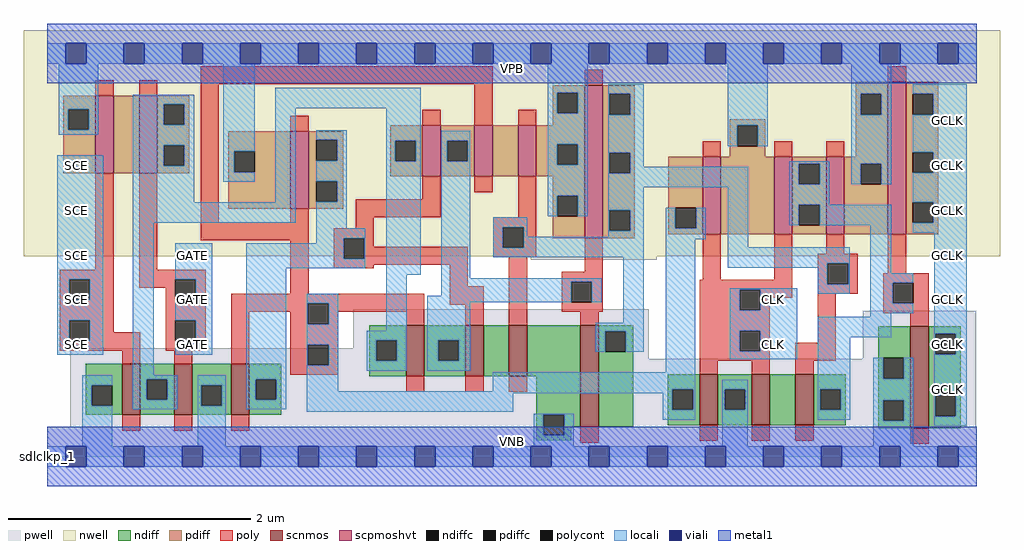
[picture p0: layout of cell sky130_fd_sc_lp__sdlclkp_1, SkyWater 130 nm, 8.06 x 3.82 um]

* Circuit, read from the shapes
.subckt sky130_fd_sc_lp__sdlclkp_1 CLK GATE SCE VGND VNB VPB VPWR GCLK
XM1 n1 SCE VGND VNB sky130_fd_pr__nfet_01v8 w=0.42 l=0.15
XM2 VGND GATE n1 VNB sky130_fd_pr__nfet_01v8 w=0.42 l=0.15
XM3 n2 n3 VGND VNB sky130_fd_pr__nfet_01v8 w=0.42 l=0.15
XM4 n4 n3 n1 VNB sky130_fd_pr__nfet_01v8 w=0.42 l=0.15
XM5 n5 n2 n4 VNB sky130_fd_pr__nfet_01v8 w=0.42 l=0.15
XM6 VGND n6 n5 VNB sky130_fd_pr__nfet_01v8 w=0.42 l=0.15
XM7 n6 n4 VGND VNB sky130_fd_pr__nfet_01v8 w=0.84 l=0.15
XM8 VGND CLK n3 VNB sky130_fd_pr__nfet_01v8 w=0.42 l=0.15
XM9 n7 CLK VGND VNB sky130_fd_pr__nfet_01v8 w=0.42 l=0.15
XM10 n8 n6 n7 VNB sky130_fd_pr__nfet_01v8 w=0.42 l=0.15
XM11 GCLK n8 VGND VNB sky130_fd_pr__nfet_01v8 w=0.84 l=0.15
XM12 n9 SCE VPWR VPB sky130_fd_pr__pfet_01v8_hvt w=0.64 l=0.15
XM13 n1 GATE n9 VPB sky130_fd_pr__pfet_01v8_hvt w=0.64 l=0.15
XM14 n2 n3 VPWR VPB sky130_fd_pr__pfet_01v8_hvt w=0.64 l=0.15
XM15 n4 n2 n1 VPB sky130_fd_pr__pfet_01v8_hvt w=0.42 l=0.15
XM16 n10 n3 n4 VPB sky130_fd_pr__pfet_01v8_hvt w=0.42 l=0.15
XM17 VPWR n6 n10 VPB sky130_fd_pr__pfet_01v8_hvt w=0.42 l=0.15
XM18 n6 n4 VPWR VPB sky130_fd_pr__pfet_01v8_hvt w=1.26 l=0.15
XM19 VPWR CLK n3 VPB sky130_fd_pr__pfet_01v8_hvt w=0.64 l=0.15
XM20 n8 CLK VPWR VPB sky130_fd_pr__pfet_01v8_hvt w=0.64 l=0.15
XM21 VPWR n6 n8 VPB sky130_fd_pr__pfet_01v8_hvt w=0.64 l=0.15
XM22 GCLK n8 VPWR VPB sky130_fd_pr__pfet_01v8_hvt w=1.26 l=0.15
.ends

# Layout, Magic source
magic
tech sky130A
magscale 1 2
<< nwell >>
rect -38 331 1574 704
rect 799 325 1007 331
<< pwell >>
rect 506 179 994 243
rect 38 162 994 179
rect 1347 162 1535 241
rect 38 49 1535 162
rect 0 0 1536 49
<< scnmos >>
rect 124 69 154 153
rect 210 69 240 153
rect 304 69 334 153
rect 593 133 623 217
rect 691 133 721 217
rect 763 133 793 217
rect 881 49 911 217
rect 1078 52 1108 136
rect 1164 52 1194 136
rect 1236 52 1266 136
rect 1426 47 1456 215
<< scpmoshvt >>
rect 80 468 110 596
rect 152 468 182 596
rect 402 409 432 537
rect 620 463 650 547
rect 706 463 736 547
rect 778 463 808 547
rect 888 361 918 613
rect 1083 367 1113 495
rect 1201 367 1231 495
rect 1287 367 1317 495
rect 1389 367 1419 619
<< ndiff >>
rect 64 118 124 153
rect 64 84 74 118
rect 108 84 124 118
rect 64 69 124 84
rect 154 128 210 153
rect 154 94 165 128
rect 199 94 210 128
rect 154 69 210 94
rect 240 118 304 153
rect 240 84 255 118
rect 289 84 304 118
rect 240 69 304 84
rect 334 128 387 153
rect 532 192 593 217
rect 532 158 544 192
rect 578 158 593 192
rect 532 133 593 158
rect 623 192 691 217
rect 623 158 646 192
rect 680 158 691 192
rect 623 133 691 158
rect 721 133 763 217
rect 793 133 881 217
rect 334 94 345 128
rect 379 94 387 128
rect 334 69 387 94
rect 808 69 881 133
rect 808 35 820 69
rect 854 49 881 69
rect 911 207 968 217
rect 911 173 922 207
rect 956 173 968 207
rect 911 49 968 173
rect 1373 163 1426 215
rect 1025 111 1078 136
rect 1025 77 1033 111
rect 1067 77 1078 111
rect 1025 52 1078 77
rect 1108 111 1164 136
rect 1108 77 1119 111
rect 1153 77 1164 111
rect 1108 52 1164 77
rect 1194 52 1236 136
rect 1266 111 1319 136
rect 1266 77 1277 111
rect 1311 77 1319 111
rect 1266 52 1319 77
rect 1373 129 1381 163
rect 1415 129 1426 163
rect 1373 93 1426 129
rect 1373 59 1381 93
rect 1415 59 1426 93
rect 854 35 866 49
rect 808 27 866 35
rect 1373 47 1426 59
rect 1456 203 1509 215
rect 1456 169 1467 203
rect 1501 169 1509 203
rect 1456 101 1509 169
rect 1456 67 1467 101
rect 1501 67 1509 101
rect 1456 47 1509 67
<< pdiff >>
rect 27 574 80 596
rect 27 540 35 574
rect 69 540 80 574
rect 27 468 80 540
rect 110 468 152 596
rect 182 582 235 596
rect 182 548 193 582
rect 227 548 235 582
rect 182 514 235 548
rect 182 480 193 514
rect 227 480 235 514
rect 182 468 235 480
rect 835 601 888 613
rect 835 567 843 601
rect 877 567 888 601
rect 835 547 888 567
rect 299 504 402 537
rect 299 470 309 504
rect 343 470 402 504
rect 299 409 402 470
rect 432 523 489 537
rect 432 489 445 523
rect 479 489 489 523
rect 432 455 489 489
rect 567 522 620 547
rect 567 488 575 522
rect 609 488 620 522
rect 567 463 620 488
rect 650 522 706 547
rect 650 488 661 522
rect 695 488 706 522
rect 650 463 706 488
rect 736 463 778 547
rect 808 516 888 547
rect 808 482 843 516
rect 877 482 888 516
rect 808 463 888 482
rect 432 421 445 455
rect 479 421 489 455
rect 432 409 489 421
rect 835 431 888 463
rect 835 397 843 431
rect 877 397 888 431
rect 835 361 888 397
rect 918 599 971 613
rect 918 565 929 599
rect 963 565 971 599
rect 918 502 971 565
rect 1336 599 1389 619
rect 1336 565 1344 599
rect 1378 565 1389 599
rect 1128 547 1186 557
rect 918 468 929 502
rect 963 468 971 502
rect 1128 513 1140 547
rect 1174 513 1186 547
rect 1128 495 1186 513
rect 1336 495 1389 565
rect 918 407 971 468
rect 918 373 929 407
rect 963 373 971 407
rect 918 361 971 373
rect 1026 411 1083 495
rect 1026 377 1038 411
rect 1072 377 1083 411
rect 1026 367 1083 377
rect 1113 367 1201 495
rect 1231 484 1287 495
rect 1231 450 1242 484
rect 1276 450 1287 484
rect 1231 416 1287 450
rect 1231 382 1242 416
rect 1276 382 1287 416
rect 1231 367 1287 382
rect 1317 484 1389 495
rect 1317 450 1344 484
rect 1378 450 1389 484
rect 1317 367 1389 450
rect 1419 599 1472 619
rect 1419 565 1430 599
rect 1464 565 1472 599
rect 1419 503 1472 565
rect 1419 469 1430 503
rect 1464 469 1472 503
rect 1419 420 1472 469
rect 1419 386 1430 420
rect 1464 386 1472 420
rect 1419 367 1472 386
<< ndiffc >>
rect 74 84 108 118
rect 165 94 199 128
rect 255 84 289 118
rect 544 158 578 192
rect 646 158 680 192
rect 345 94 379 128
rect 820 35 854 69
rect 922 173 956 207
rect 1033 77 1067 111
rect 1119 77 1153 111
rect 1277 77 1311 111
rect 1381 129 1415 163
rect 1381 59 1415 93
rect 1467 169 1501 203
rect 1467 67 1501 101
<< pdiffc >>
rect 35 540 69 574
rect 193 548 227 582
rect 193 480 227 514
rect 843 567 877 601
rect 309 470 343 504
rect 445 489 479 523
rect 575 488 609 522
rect 661 488 695 522
rect 843 482 877 516
rect 445 421 479 455
rect 843 397 877 431
rect 929 565 963 599
rect 1344 565 1378 599
rect 929 468 963 502
rect 1140 513 1174 547
rect 929 373 963 407
rect 1038 377 1072 411
rect 1242 450 1276 484
rect 1242 382 1276 416
rect 1344 450 1378 484
rect 1430 565 1464 599
rect 1430 469 1464 503
rect 1430 386 1464 420
<< poly >>
rect 80 596 110 622
rect 152 596 182 622
rect 254 615 736 645
rect 80 309 110 468
rect 21 293 110 309
rect 21 259 37 293
rect 71 259 110 293
rect 152 309 182 468
rect 254 387 284 615
rect 402 537 432 563
rect 620 547 650 573
rect 706 547 736 615
rect 888 613 918 639
rect 1389 619 1419 645
rect 778 547 808 573
rect 620 425 650 463
rect 706 437 736 463
rect 402 387 432 409
rect 254 357 432 387
rect 510 395 650 425
rect 778 395 808 463
rect 510 377 540 395
rect 152 293 262 309
rect 152 279 212 293
rect 21 225 110 259
rect 21 191 37 225
rect 71 205 110 225
rect 196 259 212 279
rect 246 259 262 293
rect 402 269 432 357
rect 474 361 540 377
rect 474 327 490 361
rect 524 347 540 361
rect 737 379 808 395
rect 524 327 695 347
rect 737 345 753 379
rect 787 345 808 379
rect 1083 495 1113 521
rect 1201 495 1231 521
rect 1287 495 1317 521
rect 737 329 808 345
rect 474 317 695 327
rect 474 311 540 317
rect 665 281 695 317
rect 196 225 262 259
rect 71 191 154 205
rect 21 175 154 191
rect 196 191 212 225
rect 246 191 262 225
rect 196 175 262 191
rect 304 253 623 269
rect 304 239 431 253
rect 124 153 154 175
rect 210 153 240 175
rect 304 153 334 239
rect 402 219 431 239
rect 465 239 623 253
rect 665 251 721 281
rect 465 219 481 239
rect 402 185 481 219
rect 593 217 623 239
rect 691 217 721 251
rect 763 217 793 329
rect 888 305 918 361
rect 850 289 918 305
rect 1083 292 1113 367
rect 1201 292 1231 367
rect 1287 335 1317 367
rect 850 255 866 289
rect 900 255 918 289
rect 850 239 918 255
rect 1078 276 1231 292
rect 1078 242 1144 276
rect 1178 262 1231 276
rect 1273 319 1339 335
rect 1273 285 1289 319
rect 1323 285 1339 319
rect 1389 303 1419 367
rect 1273 269 1339 285
rect 1381 287 1456 303
rect 1178 242 1194 262
rect 881 217 911 239
rect 402 151 431 185
rect 465 151 481 185
rect 402 135 481 151
rect 593 107 623 133
rect 691 107 721 133
rect 763 107 793 133
rect 124 43 154 69
rect 210 43 240 69
rect 304 43 334 69
rect 1078 208 1194 242
rect 1078 174 1144 208
rect 1178 174 1194 208
rect 1273 188 1303 269
rect 1381 253 1397 287
rect 1431 253 1456 287
rect 1381 237 1456 253
rect 1426 215 1456 237
rect 1078 158 1194 174
rect 1078 136 1108 158
rect 1164 136 1194 158
rect 1236 158 1303 188
rect 1236 136 1266 158
rect 881 23 911 49
rect 1078 26 1108 52
rect 1164 26 1194 52
rect 1236 26 1266 52
rect 1426 21 1456 47
<< polycont >>
rect 37 259 71 293
rect 37 191 71 225
rect 212 259 246 293
rect 490 327 524 361
rect 753 345 787 379
rect 212 191 246 225
rect 431 219 465 253
rect 866 255 900 289
rect 1144 242 1178 276
rect 1289 285 1323 319
rect 431 151 465 185
rect 1144 174 1178 208
rect 1397 253 1431 287
<< locali >>
rect 0 649 31 683
rect 65 649 127 683
rect 161 649 223 683
rect 257 649 319 683
rect 353 649 415 683
rect 449 649 511 683
rect 545 649 607 683
rect 641 649 703 683
rect 737 649 799 683
rect 833 649 895 683
rect 929 649 991 683
rect 1025 649 1087 683
rect 1121 649 1183 683
rect 1217 649 1279 683
rect 1313 649 1375 683
rect 1409 649 1471 683
rect 1505 649 1536 683
rect 19 574 85 649
rect 19 540 35 574
rect 69 540 85 574
rect 19 532 85 540
rect 142 582 243 598
rect 142 548 193 582
rect 227 548 243 582
rect 142 514 243 548
rect 17 293 93 498
rect 17 259 37 293
rect 71 259 93 293
rect 17 225 93 259
rect 17 191 37 225
rect 71 191 93 225
rect 17 168 93 191
rect 142 480 193 514
rect 227 480 243 514
rect 142 420 243 480
rect 291 504 343 649
rect 291 470 309 504
rect 291 454 343 470
rect 377 575 617 609
rect 377 420 411 575
rect 142 386 411 420
rect 445 523 495 539
rect 479 489 495 523
rect 445 455 495 489
rect 479 421 495 455
rect 142 134 176 386
rect 445 377 495 421
rect 560 522 617 575
rect 827 601 893 649
rect 827 567 843 601
rect 877 567 893 601
rect 560 488 575 522
rect 609 488 617 522
rect 445 361 526 377
rect 445 352 490 361
rect 212 293 273 352
rect 246 259 273 293
rect 212 225 273 259
rect 246 191 273 225
rect 212 168 273 191
rect 329 327 490 352
rect 524 327 526 361
rect 329 311 526 327
rect 58 118 108 134
rect 58 84 74 118
rect 58 17 108 84
rect 142 128 215 134
rect 142 94 165 128
rect 199 94 215 128
rect 142 78 215 94
rect 249 118 295 134
rect 249 84 255 118
rect 289 84 295 118
rect 249 17 295 84
rect 329 128 395 311
rect 560 300 617 488
rect 651 522 699 538
rect 651 488 661 522
rect 695 488 699 522
rect 329 94 345 128
rect 379 94 395 128
rect 329 78 395 94
rect 429 253 481 269
rect 429 219 431 253
rect 465 219 481 253
rect 429 185 481 219
rect 560 208 594 300
rect 651 295 699 488
rect 827 516 893 567
rect 827 482 843 516
rect 877 482 893 516
rect 827 431 893 482
rect 827 397 843 431
rect 877 397 893 431
rect 927 599 986 615
rect 927 565 929 599
rect 963 565 986 599
rect 927 502 986 565
rect 1124 547 1190 649
rect 1124 513 1140 547
rect 1174 513 1190 547
rect 1328 599 1394 649
rect 1328 565 1344 599
rect 1378 565 1394 599
rect 927 468 929 502
rect 963 479 986 502
rect 1226 484 1292 488
rect 963 468 1158 479
rect 927 445 1158 468
rect 927 407 986 445
rect 737 379 793 395
rect 737 345 753 379
rect 787 363 793 379
rect 927 373 929 407
rect 963 373 986 407
rect 927 363 986 373
rect 787 345 986 363
rect 737 329 986 345
rect 651 289 916 295
rect 651 266 866 289
rect 429 151 431 185
rect 465 151 481 185
rect 429 108 481 151
rect 528 192 594 208
rect 528 158 544 192
rect 578 158 594 192
rect 528 142 594 158
rect 628 255 866 266
rect 900 255 916 289
rect 628 192 699 255
rect 952 221 986 329
rect 628 158 646 192
rect 680 158 699 192
rect 906 207 986 221
rect 906 173 922 207
rect 956 173 986 207
rect 1022 377 1038 411
rect 1072 377 1088 411
rect 1022 359 1088 377
rect 628 142 699 158
rect 1022 139 1071 359
rect 1124 346 1158 445
rect 1226 450 1242 484
rect 1276 450 1292 484
rect 1328 484 1394 565
rect 1328 450 1344 484
rect 1378 450 1394 484
rect 1430 599 1519 615
rect 1464 565 1519 599
rect 1430 503 1519 565
rect 1464 469 1519 503
rect 1226 416 1292 450
rect 1430 420 1519 469
rect 1226 382 1242 416
rect 1276 382 1394 416
rect 1124 319 1326 346
rect 1124 312 1289 319
rect 1273 285 1289 312
rect 1323 285 1326 319
rect 1128 276 1239 278
rect 1128 242 1144 276
rect 1178 242 1239 276
rect 1273 269 1326 285
rect 1360 303 1394 382
rect 1464 386 1519 420
rect 1430 370 1519 386
rect 1360 287 1431 303
rect 1128 208 1239 242
rect 1360 253 1397 287
rect 1360 237 1431 253
rect 1360 231 1394 237
rect 1128 174 1144 208
rect 1178 174 1239 208
rect 1128 161 1239 174
rect 1273 197 1394 231
rect 1465 203 1519 370
rect 736 111 1071 139
rect 736 108 1033 111
rect 429 105 1033 108
rect 429 74 770 105
rect 1017 77 1033 105
rect 1067 77 1071 111
rect 804 69 870 71
rect 804 35 820 69
rect 854 35 870 69
rect 1017 61 1071 77
rect 1115 111 1157 127
rect 1115 77 1119 111
rect 1153 77 1157 111
rect 804 17 870 35
rect 1115 17 1157 77
rect 1273 111 1327 197
rect 1465 169 1467 203
rect 1501 169 1519 203
rect 1273 77 1277 111
rect 1311 77 1327 111
rect 1273 61 1327 77
rect 1365 129 1381 163
rect 1415 129 1431 163
rect 1365 93 1431 129
rect 1365 59 1381 93
rect 1415 59 1431 93
rect 1365 17 1431 59
rect 1465 101 1519 169
rect 1465 67 1467 101
rect 1501 67 1519 101
rect 1465 51 1519 67
rect 0 -17 31 17
rect 65 -17 127 17
rect 161 -17 223 17
rect 257 -17 319 17
rect 353 -17 415 17
rect 449 -17 511 17
rect 545 -17 607 17
rect 641 -17 703 17
rect 737 -17 799 17
rect 833 -17 895 17
rect 929 -17 991 17
rect 1025 -17 1087 17
rect 1121 -17 1183 17
rect 1217 -17 1279 17
rect 1313 -17 1375 17
rect 1409 -17 1471 17
rect 1505 -17 1536 17
<< viali >>
rect 31 649 65 683
rect 127 649 161 683
rect 223 649 257 683
rect 319 649 353 683
rect 415 649 449 683
rect 511 649 545 683
rect 607 649 641 683
rect 703 649 737 683
rect 799 649 833 683
rect 895 649 929 683
rect 991 649 1025 683
rect 1087 649 1121 683
rect 1183 649 1217 683
rect 1279 649 1313 683
rect 1375 649 1409 683
rect 1471 649 1505 683
rect 31 -17 65 17
rect 127 -17 161 17
rect 223 -17 257 17
rect 319 -17 353 17
rect 415 -17 449 17
rect 511 -17 545 17
rect 607 -17 641 17
rect 703 -17 737 17
rect 799 -17 833 17
rect 895 -17 929 17
rect 991 -17 1025 17
rect 1087 -17 1121 17
rect 1183 -17 1217 17
rect 1279 -17 1313 17
rect 1375 -17 1409 17
rect 1471 -17 1505 17
<< metal1 >>
rect 0 683 1536 715
rect 0 649 31 683
rect 65 649 127 683
rect 161 649 223 683
rect 257 649 319 683
rect 353 649 415 683
rect 449 649 511 683
rect 545 649 607 683
rect 641 649 703 683
rect 737 649 799 683
rect 833 649 895 683
rect 929 649 991 683
rect 1025 649 1087 683
rect 1121 649 1183 683
rect 1217 649 1279 683
rect 1313 649 1375 683
rect 1409 649 1471 683
rect 1505 649 1536 683
rect 0 617 1536 649
rect 0 17 1536 49
rect 0 -17 31 17
rect 65 -17 127 17
rect 161 -17 223 17
rect 257 -17 319 17
rect 353 -17 415 17
rect 449 -17 511 17
rect 545 -17 607 17
rect 641 -17 703 17
rect 737 -17 799 17
rect 833 -17 895 17
rect 929 -17 991 17
rect 1025 -17 1087 17
rect 1121 -17 1183 17
rect 1217 -17 1279 17
rect 1313 -17 1375 17
rect 1409 -17 1471 17
rect 1505 -17 1536 17
rect 0 -49 1536 -17
<< labels >>
flabel pwell s 0 0 1536 49 0 FreeSans 200 0 0 0 VNB
port 5 nsew ground bidirectional
flabel nwell s 0 617 1536 666 0 FreeSans 200 0 0 0 VPB
port 6 nsew power bidirectional
rlabel comment s 0 0 0 0 4 sdlclkp_1
flabel metal1 s 0 617 1536 666 0 FreeSans 340 0 0 0 VPWR
port 7 nsew power bidirectional
flabel metal1 s 0 0 1536 49 0 FreeSans 340 0 0 0 VGND
port 4 nsew ground bidirectional
flabel locali s 1183 168 1217 202 0 FreeSans 340 0 0 0 CLK
port 1 nsew clock input
flabel locali s 1183 242 1217 276 0 FreeSans 340 0 0 0 CLK
port 1 nsew clock input
flabel locali s 223 168 257 202 0 FreeSans 340 0 0 0 GATE
port 2 nsew signal input
flabel locali s 223 242 257 276 0 FreeSans 340 0 0 0 GATE
port 2 nsew signal input
flabel locali s 223 316 257 350 0 FreeSans 340 0 0 0 GATE
port 2 nsew signal input
flabel locali s 31 168 65 202 0 FreeSans 340 0 0 0 SCE
port 3 nsew signal input
flabel locali s 31 242 65 276 0 FreeSans 340 0 0 0 SCE
port 3 nsew signal input
flabel locali s 31 316 65 350 0 FreeSans 340 0 0 0 SCE
port 3 nsew signal input
flabel locali s 31 390 65 424 0 FreeSans 340 0 0 0 SCE
port 3 nsew signal input
flabel locali s 31 464 65 498 0 FreeSans 340 0 0 0 SCE
port 3 nsew signal input
flabel locali s 1471 94 1505 128 0 FreeSans 340 0 0 0 GCLK
port 8 nsew signal output
flabel locali s 1471 168 1505 202 0 FreeSans 340 0 0 0 GCLK
port 8 nsew signal output
flabel locali s 1471 242 1505 276 0 FreeSans 340 0 0 0 GCLK
port 8 nsew signal output
flabel locali s 1471 316 1505 350 0 FreeSans 340 0 0 0 GCLK
port 8 nsew signal output
flabel locali s 1471 390 1505 424 0 FreeSans 340 0 0 0 GCLK
port 8 nsew signal output
flabel locali s 1471 464 1505 498 0 FreeSans 340 0 0 0 GCLK
port 8 nsew signal output
flabel locali s 1471 538 1505 572 0 FreeSans 340 0 0 0 GCLK
port 8 nsew signal output
<< properties >>
string LEFsite unit
string LEFclass CORE
string FIXED_BBOX 0 0 1536 666
string GDS_FILE $PDKPATH/libs.ref/sky130_fd_sc_lp/gds/sky130_fd_sc_lp.gds
string LEFsymmetry X Y R90
string GDS_END 1561250
string GDS_START 1548562
<< end >>
